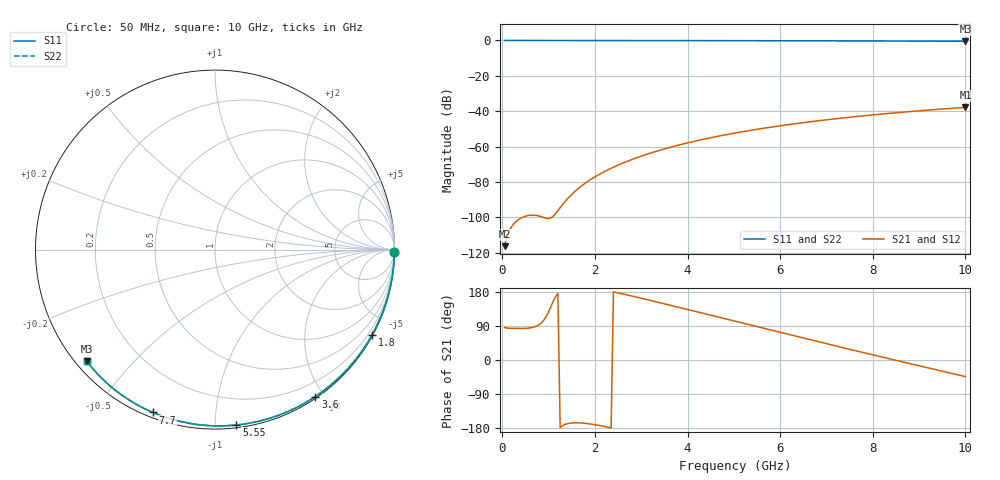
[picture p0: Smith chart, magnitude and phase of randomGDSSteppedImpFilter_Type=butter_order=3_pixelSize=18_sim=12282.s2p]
! freq	dB(S11)	phase(S11)	dB(S12)	phase(S12)
!  dB(S21)	phase(S21)	dB(S22)	phase(S22)
!S-par simulation data
#  GHz  S  DB  R 50
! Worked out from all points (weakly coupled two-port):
!   200 points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, 50 MHz to 10 GHz, reference 50 ohm
!   highest |S21| = -37.81 dB at 10 GHz (marker M1); lowest = -116.2 dB at 50 MHz (marker M2)
!   lowest |S11| = -0.5 dB at 10 GHz (marker M3), VSWR 36.92, Z = 1.54 - j18.7 ohm
!   |S11| at or under -10 dB: nowhere
!   |S22| runs from -0.5 to 0.0 dB; largest |S21 - S12| = 0
!   S11 on the Smith chart (normalised r, x): 50 MHz: open; 1.8 GHz: 0.03, -3.94; 3.6 GHz: 0.02, -1.89; 5.55 GHz: 0.02, -1.13; 7.7 GHz: 0.02, -0.69; 10 GHz: 0.03, -0.37
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0.05  -0.00 -0.8  -116.21 85.8  -116.21 85.8  -0.00 -0.8
0.45  -0.01 -7.2  -99.74 83.3  -99.74 83.3  -0.01 -7.2
0.9  -0.02 -14.4  -100.09 105.9  -100.09 105.9  -0.02 -14.4
1.75  -0.04 -27.7  -81.39 -166.6  -81.39 -166.6  -0.04 -27.7
1.8  -0.04 -28.5  -80.44 -167.3  -80.44 -167.3  -0.04 -28.5
1.85  -0.04 -29.3  -79.55 -168.0  -79.55 -168.0  -0.04 -29.3
2.05  -0.04 -32.4  -76.29 -171.9  -76.29 -171.9  -0.04 -32.4
2.25  -0.05 -35.4  -73.47 -176.5  -73.47 -176.5  -0.05 -35.4
2.55  -0.05 -40.0  -69.85 175.7  -69.85 175.7  -0.05 -40.0
2.95  -0.06 -46.1  -65.81 164.5  -65.81 164.5  -0.06 -46.1
3.4  -0.07 -52.7  -62.03 151.3  -62.03 151.3  -0.07 -52.7
3.6  -0.07 -55.7  -60.55 145.3  -60.55 145.3  -0.07 -55.7
3.9  -0.08 -60.0  -58.50 136.3  -58.50 136.3  -0.08 -60.0
4.3  -0.09 -65.8  -56.06 124.2  -56.06 124.2  -0.09 -65.8
5.05  -0.12 -76.2  -52.18 101.4  -52.18 101.4  -0.12 -76.2
5.55  -0.14 -83.0  -49.97 86.3  -49.97 86.3  -0.14 -83.0
6.1  -0.16 -90.4  -47.83 69.8  -47.83 69.8  -0.16 -90.4
6.7  -0.19 -98.2  -45.76 51.8  -45.76 51.8  -0.19 -98.2
7.7  -0.25 -110.9  -42.83 22.4  -42.83 22.4  -0.25 -110.9
8.35  -0.30 -118.9  -41.20 3.5  -41.20 3.5  -0.30 -118.9
9.2  -0.38 -129.3  -39.33 -21.0  -39.33 -21.0  -0.38 -129.3
10  -0.47 -139.0  -37.81 -43.8  -37.81 -43.8  -0.47 -139.0
